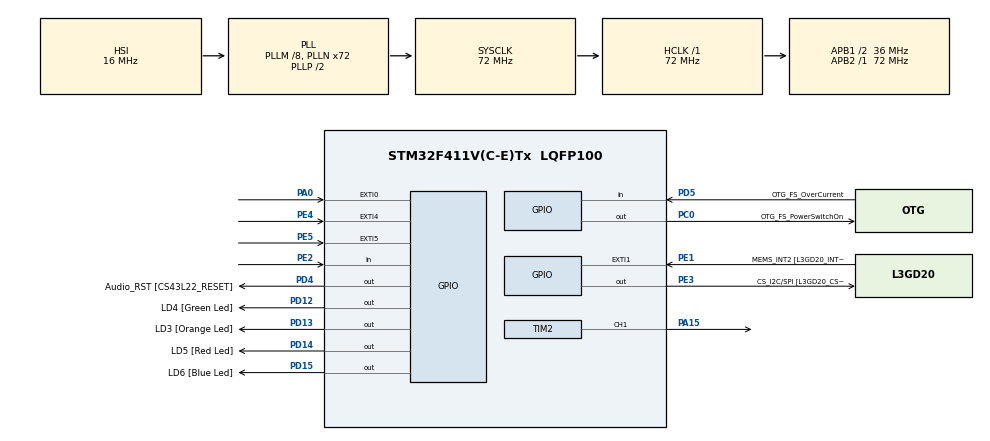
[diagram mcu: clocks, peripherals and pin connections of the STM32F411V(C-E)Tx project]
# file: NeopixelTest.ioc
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Dma.Request0=TIM2_CH1
Dma.TIM2_CH1.0.Direction=DMA_MEMORY_TO_PERIPH
Dma.TIM2_CH1.0.FIFOMode=DMA_FIFOMODE_DISABLE
Dma.TIM2_CH1.0.Instance=DMA1_Stream5
Dma.TIM2_CH1.0.MemDataAlignment=DMA_MDATAALIGN_HALFWORD
Dma.TIM2_CH1.0.MemInc=DMA_MINC_ENABLE
Dma.TIM2_CH1.0.Mode=DMA_CIRCULAR
Dma.TIM2_CH1.0.PeriphDataAlignment=DMA_PDATAALIGN_HALFWORD
Dma.TIM2_CH1.0.PeriphInc=DMA_PINC_DISABLE
Dma.TIM2_CH1.0.Priority=DMA_PRIORITY_HIGH
Mcu.Family=STM32F4
Mcu.Name=STM32F411V(C-E)Tx
Mcu.Package=LQFP100
NVIC.DMA1_Stream5_IRQn=true\:0\:0\:false\:false\:true\:false\:true\:true
NVIC.PriorityGroup=NVIC_PRIORITYGROUP_0
NVIC.TIM2_IRQn=true\:0\:0\:false\:false\:true\:true\:true\:true
PA0-WKUP.GPIO_ModeDefaultEXTI=GPIO_MODE_EVT_RISING
PA0-WKUP.Signal=GPXTI0
PA10.GPIO_Label=OTG_FS_ID
PA10.Signal=USB_OTG_FS_ID
PA11.GPIO_Label=OTG_FS_DM
PA11.Signal=USB_OTG_FS_DM
PA12.GPIO_Label=OTG_FS_DP
PA12.Signal=USB_OTG_FS_DP
PA13.GPIO_Label=SWDIO
PA13.Signal=SYS_JTMS-SWDIO
PA14.GPIO_Label=SWCLK
PA14.Signal=SYS_JTCK-SWCLK
PA15.Signal=S_TIM2_CH1_ETR
PA4.GPIO_Label=I2S3_WS [CS43L22_LRCK]
PA4.GPIO_Mode=GPIO_MODE_AF_PP
PA4.GPIO_PuPd=GPIO_NOPULL
PA4.GPIO_Speed=GPIO_SPEED_FREQ_LOW
PA4.Signal=I2S3_WS
PA5.GPIO_Label=SPI1_SCK [L3GD20_SC/SPC]
PA5.Signal=SPI1_SCK
PA6.GPIO_Label=SPI1_MISO [L3GD20_AS0/SDO]
PA6.Signal=SPI1_MISO
PA7.GPIO_Label=SPI1_MOSI [L3GD20_SDA/SDI/SDO]
PA7.Signal=SPI1_MOSI
PA9.GPIO_Label=VBUS_FS
PA9.Signal=USB_OTG_FS_VBUS
PB10.GPIO_Label=CLK_IN [MP45DT02_CLK]
PB10.Signal=I2S2_CK
PB12.Signal=I2S2_WS
PB3.GPIO_Label=SWO
PB3.Signal=SYS_JTDO-SWO
PB6.GPIO_Label=Audio_SCL [CS43L22_SCL]
PB6.GPIO_Mode=GPIO_MODE_AF_OD
PB6.GPIO_PuPd=GPIO_NOPULL
PB6.GPIO_Speed=GPIO_SPEED_FREQ_LOW
PB6.Signal=I2C1_SCL
PB9.GPIO_Label=Audio_SDA [CS43L22_SDA]
PB9.GPIO_Mode=GPIO_MODE_AF_OD
PB9.GPIO_PuPd=GPIO_NOPULL
PB9.GPIO_Speed=GPIO_SPEED_FREQ_LOW
PB9.Signal=I2C1_SDA
PC0.GPIO_Label=OTG_FS_PowerSwitchOn
PC0.PinState=GPIO_PIN_SET
PC0.Signal=GPIO_Output
PC10.GPIO_Label=I2S3_SCK [CS43L22_SCLK]
PC10.GPIO_Mode=GPIO_MODE_AF_PP
PC10.GPIO_PuPd=GPIO_NOPULL
PC10.GPIO_Speed=GPIO_SPEED_FREQ_LOW
PC10.Signal=I2S3_CK
PC12.GPIO_Label=I2S3_SD [CS43L22_SDIN]
PC12.GPIO_Mode=GPIO_MODE_AF_PP
PC12.GPIO_PuPd=GPIO_NOPULL
PC12.GPIO_Speed=GPIO_SPEED_FREQ_LOW
PC12.Signal=I2S3_SD
PC14-OSC32_IN.GPIO_Label=PC14-OSC32_IN
PC14-OSC32_IN.Signal=RCC_OSC32_IN
PC15-OSC32_OUT.GPIO_Label=PC15-OSC32_OUT
PC15-OSC32_OUT.Signal=RCC_OSC32_OUT
PC3.GPIO_Label=PDM_OUT [MP45DT02_DOUT]
PC3.Signal=I2S2_SD
PC7.GPIO_Label=I2S3_MCK [CS43L22_MCLK]
PC7.GPIO_Mode=GPIO_MODE_AF_PP
PC7.GPIO_PuPd=GPIO_NOPULL
PC7.GPIO_Speed=GPIO_SPEED_FREQ_LOW
PC7.Signal=I2S3_MCK
PD12.GPIO_Label=LD4 [Green Led]
PD12.GPIO_PuPd=GPIO_NOPULL
PD12.GPIO_Speed=GPIO_SPEED_FREQ_LOW
PD12.Signal=GPIO_Output
PD13.GPIO_Label=LD3 [Orange Led]
PD13.GPIO_PuPd=GPIO_NOPULL
PD13.GPIO_Speed=GPIO_SPEED_FREQ_LOW
PD13.Signal=GPIO_Output
PD14.GPIO_Label=LD5 [Red Led]
PD14.GPIO_PuPd=GPIO_NOPULL
PD14.GPIO_Speed=GPIO_SPEED_FREQ_LOW
PD14.Signal=GPIO_Output
PD15.GPIO_Label=LD6 [Blue Led]
PD15.GPIO_PuPd=GPIO_NOPULL
PD15.GPIO_Speed=GPIO_SPEED_FREQ_LOW
PD15.Signal=GPIO_Output
PD4.GPIO_Label=Audio_RST [CS43L22_RESET]
PD4.Signal=GPIO_Output
PD5.GPIO_Label=OTG_FS_OverCurrent
PD5.Signal=GPIO_Input
PE1.GPIO_Label=MEMS_INT2 [L3GD20_INT2]
PE1.GPIO_ModeDefaultEXTI=GPIO_MODE_EVT_RISING
PE1.Signal=GPXTI1
PE2.Signal=GPIO_Input
PE3.GPIO_Label=CS_I2C/SPI [L3GD20_CS_I2C/SPI]
PE3.Signal=GPIO_Output
PE4.GPIO_ModeDefaultEXTI=GPIO_MODE_EVT_RISING
PE4.Signal=GPXTI4
PE5.GPIO_ModeDefaultEXTI=GPIO_MODE_EVT_RISING
PE5.Signal=GPXTI5
PH0\ -\ OSC_IN.GPIO_Label=PH0-OSC_IN
PH0\ -\ OSC_IN.Signal=RCC_OSC_IN
PH1\ -\ OSC_OUT.GPIO_Label=PH1-OSC_OUT
PH1\ -\ OSC_OUT.Signal=RCC_OSC_OUT
ProjectManager.HeapSize=0x200
ProjectManager.StackSize=0x400
ProjectManager.TargetToolchain=STM32CubeIDE
RCC.48MHZClocksFreq_Value=18000000
RCC.AHBFreq_Value=72000000
RCC.APB1CLKDivider=RCC_HCLK_DIV2
RCC.APB1Freq_Value=36000000
RCC.APB1TimFreq_Value=72000000
RCC.APB2Freq_Value=72000000
RCC.APB2TimFreq_Value=72000000
RCC.CortexFreq_Value=72000000
RCC.HCLKFreq_Value=72000000
RCC.HSE_VALUE=8000000
RCC.HSI_VALUE=16000000
RCC.LSE_VALUE=32768
RCC.PLLI2SM=5
RCC.PLLI2SN=200
RCC.PLLM=8
RCC.PLLN=72
RCC.PLLQ=8
RCC.SYSCLKFreq_VALUE=72000000
RCC.SYSCLKSource=RCC_SYSCLKSOURCE_PLLCLK
RCC.VCOOutputFreq_Value=144000000
SH.S_TIM2_CH1_ETR.0=TIM2_CH1,PWM Generation1 CH1
TIM2.Channel-PWM\ Generation1\ CH1=TIM_CHANNEL_1
TIM2.Period=60-1
VP_TIM2_VS_ClockSourceINT.Mode=Internal
board=STM32F411E-DISCO

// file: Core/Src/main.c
/* USER CODE BEGIN Header */
/**
  ******************************************************************************
  * @file           : main.c
  * @brief          : Main program body
  ******************************************************************************
  * @attention
  *
  * Copyright (c) 2022 STMicroelectronics.
  * All rights reserved.
  *
  * This software is licensed under terms that can be found in the LICENSE file
  * in the root directory of this software component.
  * If no LICENSE file comes with this software, it is provided AS-IS.
  *
  ******************************************************************************
  */
/* USER CODE END Header */
#include "main.h"

/* USER CODE BEGIN Includes */
//#include "stm32_hal_neopixel.h"
/* USER CODE END Includes */

 TIM_HandleTypeDef htim2;
DMA_HandleTypeDef hdma_tim2_ch1;

void SystemClock_Config(void);
static void MX_GPIO_Init(void);
static void MX_DMA_Init(void);
static void MX_TIM2_Init(void);
/* USER CODE BEGIN PFP */
uint32_t hsl_to_rgb(uint8_t h, uint8_t s, uint8_t l);
/* USER CODE END PFP */

/* USER CODE BEGIN 0 */

#define MAX_LED 24
#define USE_BRIGHTNESS 0

#define PWM_HI (56) // 64% of our cyle time
#define PWM_LO (28) // 32% of our cycle time which is 89
uint8_t LED_Data[MAX_LED][4];
uint8_t LED_Mod[MAX_LED][4];  // for brightness

int datasentflag=0;

void HAL_TIM_PWM_PulseFinishedCallback(TIM_HandleTypeDef *htim)
{
	HAL_TIM_PWM_Stop_DMA(&htim2, TIM_CHANNEL_1);
	datasentflag=1;
}

void Set_LED (int LEDnum, int Red, int Green, int Blue)
{
	LED_Data[LEDnum][0] = LEDnum;
	LED_Data[LEDnum][1] = Green;
	LED_Data[LEDnum][2] = Red;
	LED_Data[LEDnum][3] = Blue;
}

#define PI 3.14159265

void Set_Brightness (int brightness)  // 0-45
{
#if USE_BRIGHTNESS

	if (brightness > 45) brightness = 45;
	for (int i=0; i<MAX_LED; i++)
	{
		LED_Mod[i][0] = LED_Data[i][0];
		for (int j=1; j<4; j++)
		{
			float angle = 90-brightness;  // in degrees
			angle = angle*PI / 180;  // in rad
			LED_Mod[i][j] = (LED_Data[i][j])/(tan(angle));
		}
	}

#endif

}

uint16_t pwmData[(24*MAX_LED)+50];

void WS2812_Send (void)
{
	uint32_t indx=0;
	uint32_t color;

	for (int i= 0; i<MAX_LED; i++)
	{
#if USE_BRIGHTNESS
		color = ((LED_Mod[i][1]<<16) | (LED_Mod[i][2]<<8) | (LED_Mod[i][3]));
#else
		color = ((LED_Data[i][1]<<16) | (LED_Data[i][2]<<8) | (LED_Data[i][3]));
#endif

		for (int j=23; j>=0; j--)// There are 24 bits per Colour Channel.
		{
			if (color&(1<<j))// if the bit is a 1 then we want to send a high for 2/3rds of the time ( the high duty cycle 0.4/0.4+ 0.84 = 0.32 , close enough
			{
				pwmData[indx] = PWM_HI;  // 2/3 of 90 WS2812B HiGH High (1) at 62% duty (0.8µs).
			//
			}
			else // duty cycle for low
			{
				pwmData[indx] = PWM_LO;  // 1/3 of 90WS2812B LOW Low (0) at 32% duty (0.4µs).
			}

			indx++;
		}

	}

	for (int i=0; i<50; i++)
	{
		pwmData[indx] = 0;
		indx++;
	}

	HAL_TIM_PWM_Start_DMA(&htim2, TIM_CHANNEL_1, (uint32_t *)pwmData, indx);
	while (!datasentflag){

	};
	datasentflag = 0;
}

void Reset_LED (void)
{
	for (int i=0; i<MAX_LED; i++)
	{
		LED_Data[i][0] = i;
		LED_Data[i][1] = 0;
		LED_Data[i][2] = 0;
		LED_Data[i][3] = 0;
	}
}

/* USER CODE END 0 */

int main(void)
{

  /* MCU Configuration--------------------------------------------------------*/

  /* Reset of all peripherals, Initializes the Flash interface and the Systick. */
  HAL_Init();

  /* Configure the system clock */
  SystemClock_Config();

  /* Initialize all configured peripherals */
  MX_GPIO_Init();
  MX_DMA_Init();
  MX_TIM2_Init();

  /* Infinite loop */
  /* USER CODE BEGIN WHILE */
  for(int i = 0; i < MAX_LED; i++)
  {
  	// setting all LEDS to be green
  	Set_LED(0, 0, 255, 0);
  }

  while (1)
  {
    /* USER CODE END WHILE */

    /* USER CODE BEGIN 3 */

  	WS2812_Send();
		HAL_Delay (50);

		// Some delay*/
		//ConsoleProcess();

//  		  		I3G450D_loop();

//  		  		HAL_GPIO_WritePin(GPIOG,GPIO_PIN_13, GPIO_PIN_SET);
//  		  			HAL_Delay(1000);
//  		  			// rest to turn it off.
//  		  			HAL_GPIO_WritePin(GPIOG,GPIO_PIN_13, GPIO_PIN_RESET);
//  		  			HAL_Delay(1000);
//  		  		HAL_Delay(10);

  }
  /* USER CODE END 3 */
}

void SystemClock_Config(void)
{
  RCC_OscInitTypeDef RCC_OscInitStruct = {0};
  RCC_ClkInitTypeDef RCC_ClkInitStruct = {0};

  /** Configure the main internal regulator output voltage
  */
  __HAL_RCC_PWR_CLK_ENABLE();
  __HAL_PWR_VOLTAGESCALING_CONFIG(PWR_REGULATOR_VOLTAGE_SCALE1);

  /** Initializes the RCC Oscillators according to the specified parameters
  * in the RCC_OscInitTypeDef structure.
  */
  RCC_OscInitStruct.OscillatorType = RCC_OSCILLATORTYPE_HSI;
  RCC_OscInitStruct.HSIState = RCC_HSI_ON;
  RCC_OscInitStruct.HSICalibrationValue = RCC_HSICALIBRATION_DEFAULT;
  RCC_OscInitStruct.PLL.PLLState = RCC_PLL_ON;
  RCC_OscInitStruct.PLL.PLLSource = RCC_PLLSOURCE_HSI;
  RCC_OscInitStruct.PLL.PLLM = 8;
  RCC_OscInitStruct.PLL.PLLN = 72;
  RCC_OscInitStruct.PLL.PLLP = RCC_PLLP_DIV2;
  RCC_OscInitStruct.PLL.PLLQ = 8;
  if (HAL_RCC_OscConfig(&RCC_OscInitStruct) != HAL_OK)
  {
    Error_Handler();
  }

  /** Initializes the CPU, AHB and APB buses clocks
  */
  RCC_ClkInitStruct.ClockType = RCC_CLOCKTYPE_HCLK|RCC_CLOCKTYPE_SYSCLK
                              |RCC_CLOCKTYPE_PCLK1|RCC_CLOCKTYPE_PCLK2;
  RCC_ClkInitStruct.SYSCLKSource = RCC_SYSCLKSOURCE_PLLCLK;
  RCC_ClkInitStruct.AHBCLKDivider = RCC_SYSCLK_DIV1;
  RCC_ClkInitStruct.APB1CLKDivider = RCC_HCLK_DIV2;
  RCC_ClkInitStruct.APB2CLKDivider = RCC_HCLK_DIV1;

  if (HAL_RCC_ClockConfig(&RCC_ClkInitStruct, FLASH_LATENCY_2) != HAL_OK)
  {
    Error_Handler();
  }
}

static void MX_TIM2_Init(void)
{

  TIM_ClockConfigTypeDef sClockSourceConfig = {0};
  TIM_MasterConfigTypeDef sMasterConfig = {0};
  TIM_OC_InitTypeDef sConfigOC = {0};

  htim2.Instance = TIM2;
  htim2.Init.Prescaler = 0;
  htim2.Init.CounterMode = TIM_COUNTERMODE_UP;
  htim2.Init.Period = 60-1;
  htim2.Init.ClockDivision = TIM_CLOCKDIVISION_DIV1;
  htim2.Init.AutoReloadPreload = TIM_AUTORELOAD_PRELOAD_DISABLE;
  if (HAL_TIM_Base_Init(&htim2) != HAL_OK)
  {
    Error_Handler();
  }
  sClockSourceConfig.ClockSource = TIM_CLOCKSOURCE_INTERNAL;
  if (HAL_TIM_ConfigClockSource(&htim2, &sClockSourceConfig) != HAL_OK)
  {
    Error_Handler();
  }
  if (HAL_TIM_PWM_Init(&htim2) != HAL_OK)
  {
    Error_Handler();
  }
  sMasterConfig.MasterOutputTrigger = TIM_TRGO_RESET;
  sMasterConfig.MasterSlaveMode = TIM_MASTERSLAVEMODE_DISABLE;
  if (HAL_TIMEx_MasterConfigSynchronization(&htim2, &sMasterConfig) != HAL_OK)
  {
    Error_Handler();
  }
  sConfigOC.OCMode = TIM_OCMODE_PWM1;
  sConfigOC.Pulse = 0;
  sConfigOC.OCPolarity = TIM_OCPOLARITY_HIGH;
  sConfigOC.OCFastMode = TIM_OCFAST_DISABLE;
  if (HAL_TIM_PWM_ConfigChannel(&htim2, &sConfigOC, TIM_CHANNEL_1) != HAL_OK)
  {
    Error_Handler();
  }
  HAL_TIM_MspPostInit(&htim2);

}

static void MX_DMA_Init(void)
{

  /* DMA controller clock enable */
  __HAL_RCC_DMA1_CLK_ENABLE();

  /* DMA interrupt init */
  /* DMA1_Stream5_IRQn interrupt configuration */
  HAL_NVIC_SetPriority(DMA1_Stream5_IRQn, 0, 0);
  HAL_NVIC_EnableIRQ(DMA1_Stream5_IRQn);

}

static void MX_GPIO_Init(void)
{
  GPIO_InitTypeDef GPIO_InitStruct = {0};

  /* GPIO Ports Clock Enable */
  __HAL_RCC_GPIOE_CLK_ENABLE();
  __HAL_RCC_GPIOC_CLK_ENABLE();
  __HAL_RCC_GPIOH_CLK_ENABLE();
  __HAL_RCC_GPIOA_CLK_ENABLE();
  __HAL_RCC_GPIOB_CLK_ENABLE();
  __HAL_RCC_GPIOD_CLK_ENABLE();

  /*Configure GPIO pin Output Level */
  HAL_GPIO_WritePin(CS_I2C_SPI_GPIO_Port, CS_I2C_SPI_Pin, GPIO_PIN_RESET);

  /*Configure GPIO pin Output Level */
  HAL_GPIO_WritePin(OTG_FS_PowerSwitchOn_GPIO_Port, OTG_FS_PowerSwitchOn_Pin, GPIO_PIN_SET);

  /*Configure GPIO pin Output Level */
  HAL_GPIO_WritePin(GPIOD, LD4_Pin|LD3_Pin|LD5_Pin|LD6_Pin
                          |Audio_RST_Pin, GPIO_PIN_RESET);

  /*Configure GPIO pin : PE2 */
  GPIO_InitStruct.Pin = GPIO_PIN_2;
  GPIO_InitStruct.Mode = GPIO_MODE_INPUT;
  GPIO_InitStruct.Pull = GPIO_NOPULL;
  HAL_GPIO_Init(GPIOE, &GPIO_InitStruct);

  /*Configure GPIO pin : CS_I2C_SPI_Pin */
  GPIO_InitStruct.Pin = CS_I2C_SPI_Pin;
  GPIO_InitStruct.Mode = GPIO_MODE_OUTPUT_PP;
  GPIO_InitStruct.Pull = GPIO_NOPULL;
  GPIO_InitStruct.Speed = GPIO_SPEED_FREQ_LOW;
  HAL_GPIO_Init(CS_I2C_SPI_GPIO_Port, &GPIO_InitStruct);

  /*Configure GPIO pins : PE4 PE5 MEMS_INT2_Pin */
  GPIO_InitStruct.Pin = GPIO_PIN_4|GPIO_PIN_5|MEMS_INT2_Pin;
  GPIO_InitStruct.Mode = GPIO_MODE_EVT_RISING;
  GPIO_InitStruct.Pull = GPIO_NOPULL;
  HAL_GPIO_Init(GPIOE, &GPIO_InitStruct);

  /*Configure GPIO pin : OTG_FS_PowerSwitchOn_Pin */
  GPIO_InitStruct.Pin = OTG_FS_PowerSwitchOn_Pin;
  GPIO_InitStruct.Mode = GPIO_MODE_OUTPUT_PP;
  GPIO_InitStruct.Pull = GPIO_NOPULL;
  GPIO_InitStruct.Speed = GPIO_SPEED_FREQ_LOW;
  HAL_GPIO_Init(OTG_FS_PowerSwitchOn_GPIO_Port, &GPIO_InitStruct);

  /*Configure GPIO pin : PDM_OUT_Pin */
  GPIO_InitStruct.Pin = PDM_OUT_Pin;
  GPIO_InitStruct.Mode = GPIO_MODE_AF_PP;
  GPIO_InitStruct.Pull = GPIO_NOPULL;
  GPIO_InitStruct.Speed = GPIO_SPEED_FREQ_LOW;
  GPIO_InitStruct.Alternate = GPIO_AF5_SPI2;
  HAL_GPIO_Init(PDM_OUT_GPIO_Port, &GPIO_InitStruct);

  /*Configure GPIO pin : PA0 */
  GPIO_InitStruct.Pin = GPIO_PIN_0;
  GPIO_InitStruct.Mode = GPIO_MODE_EVT_RISING;
  GPIO_InitStruct.Pull = GPIO_NOPULL;
  HAL_GPIO_Init(GPIOA, &GPIO_InitStruct);

  /*Configure GPIO pin : I2S3_WS_Pin */
  GPIO_InitStruct.Pin = I2S3_WS_Pin;
  GPIO_InitStruct.Mode = GPIO_MODE_AF_PP;
  GPIO_InitStruct.Pull = GPIO_NOPULL;
  GPIO_InitStruct.Speed = GPIO_SPEED_FREQ_LOW;
  GPIO_InitStruct.Alternate = GPIO_AF6_SPI3;
  HAL_GPIO_Init(I2S3_WS_GPIO_Port, &GPIO_InitStruct);

  /*Configure GPIO pins : SPI1_SCK_Pin SPI1_MISO_Pin SPI1_MOSI_Pin */
  GPIO_InitStruct.Pin = SPI1_SCK_Pin|SPI1_MISO_Pin|SPI1_MOSI_Pin;
  GPIO_InitStruct.Mode = GPIO_MODE_AF_PP;
  GPIO_InitStruct.Pull = GPIO_NOPULL;
  GPIO_InitStruct.Speed = GPIO_SPEED_FREQ_VERY_HIGH;
  GPIO_InitStruct.Alternate = GPIO_AF5_SPI1;
  HAL_GPIO_Init(GPIOA, &GPIO_InitStruct);

  /*Configure GPIO pins : CLK_IN_Pin PB12 */
  GPIO_InitStruct.Pin = CLK_IN_Pin|GPIO_PIN_12;
  GPIO_InitStruct.Mode = GPIO_MODE_AF_PP;
  GPIO_InitStruct.Pull = GPIO_NOPULL;
  GPIO_InitStruct.Speed = GPIO_SPEED_FREQ_LOW;
  GPIO_InitStruct.Alternate = GPIO_AF5_SPI2;
  HAL_GPIO_Init(GPIOB, &GPIO_InitStruct);

  /*Configure GPIO pins : LD4_Pin LD3_Pin LD5_Pin LD6_Pin
                           Audio_RST_Pin */
  GPIO_InitStruct.Pin = LD4_Pin|LD3_Pin|LD5_Pin|LD6_Pin
                          |Audio_RST_Pin;
  GPIO_InitStruct.Mode = GPIO_MODE_OUTPUT_PP;
  GPIO_InitStruct.Pull = GPIO_NOPULL;
  GPIO_InitStruct.Speed = GPIO_SPEED_FREQ_LOW;
  HAL_GPIO_Init(GPIOD, &GPIO_InitStruct);

  /*Configure GPIO pins : I2S3_MCK_Pin I2S3_SCK_Pin I2S3_SD_Pin */
  GPIO_InitStruct.Pin = I2S3_MCK_Pin|I2S3_SCK_Pin|I2S3_SD_Pin;
  GPIO_InitStruct.Mode = GPIO_MODE_AF_PP;
  GPIO_InitStruct.Pull = GPIO_NOPULL;
  GPIO_InitStruct.Speed = GPIO_SPEED_FREQ_LOW;
  GPIO_InitStruct.Alternate = GPIO_AF6_SPI3;
  HAL_GPIO_Init(GPIOC, &GPIO_InitStruct);

  /*Configure GPIO pin : VBUS_FS_Pin */
  GPIO_InitStruct.Pin = VBUS_FS_Pin;
  GPIO_InitStruct.Mode = GPIO_MODE_INPUT;
  GPIO_InitStruct.Pull = GPIO_NOPULL;
  HAL_GPIO_Init(VBUS_FS_GPIO_Port, &GPIO_InitStruct);

  /*Configure GPIO pins : OTG_FS_ID_Pin OTG_FS_DM_Pin OTG_FS_DP_Pin */
  GPIO_InitStruct.Pin = OTG_FS_ID_Pin|OTG_FS_DM_Pin|OTG_FS_DP_Pin;
  GPIO_InitStruct.Mode = GPIO_MODE_AF_PP;
  GPIO_InitStruct.Pull = GPIO_NOPULL;
  GPIO_InitStruct.Speed = GPIO_SPEED_FREQ_VERY_HIGH;
  GPIO_InitStruct.Alternate = GPIO_AF10_OTG_FS;
  HAL_GPIO_Init(GPIOA, &GPIO_InitStruct);

  /*Configure GPIO pin : OTG_FS_OverCurrent_Pin */
  GPIO_InitStruct.Pin = OTG_FS_OverCurrent_Pin;
  GPIO_InitStruct.Mode = GPIO_MODE_INPUT;
  GPIO_InitStruct.Pull = GPIO_NOPULL;
  HAL_GPIO_Init(OTG_FS_OverCurrent_GPIO_Port, &GPIO_InitStruct);

  /*Configure GPIO pins : Audio_SCL_Pin Audio_SDA_Pin */
  GPIO_InitStruct.Pin = Audio_SCL_Pin|Audio_SDA_Pin;
  GPIO_InitStruct.Mode = GPIO_MODE_AF_OD;
  GPIO_InitStruct.Pull = GPIO_NOPULL;
  GPIO_InitStruct.Speed = GPIO_SPEED_FREQ_LOW;
  GPIO_InitStruct.Alternate = GPIO_AF4_I2C1;
  HAL_GPIO_Init(GPIOB, &GPIO_InitStruct);

}

/* USER CODE BEGIN 4 */
uint32_t hsl_to_rgb(uint8_t h, uint8_t s, uint8_t l) {
	if(l == 0) return 0;

	volatile uint8_t  r, g, b, lo, c, x, m;
	volatile uint16_t h1, l1, H;
	l1 = l + 1;
	if (l < 128)    c = ((l1 << 1) * s) >> 8;
	else            c = (512 - (l1 << 1)) * s >> 8;

	H = h * 6;              // 0 to 1535 (actually 1530)
	lo = H & 255;           // Low byte  = primary/secondary color mix
	h1 = lo + 1;

	if ((H & 256) == 0)   x = h1 * c >> 8;          // even sextant, like red to yellow
	else                  x = (256 - h1) * c >> 8;  // odd sextant, like yellow to green

	m = l - (c >> 1);
	switch(H >> 8) {       // High byte = sextant of colorwheel
	 case 0 : r = c; g = x; b = 0; break; // R to Y
	 case 1 : r = x; g = c; b = 0; break; // Y to G
	 case 2 : r = 0; g = c; b = x; break; // G to C
	 case 3 : r = 0; g = x; b = c; break; // C to B
	 case 4 : r = x; g = 0; b = c; break; // B to M
	 default: r = c; g = 0; b = x; break; // M to R
	}

	return (((uint32_t)r + m) << 16) | (((uint32_t)g + m) << 8) | ((uint32_t)b + m);
}
/* USER CODE END 4 */

void Error_Handler(void)
{
  __disable_irq();
  while (1)
  {
  }
}
